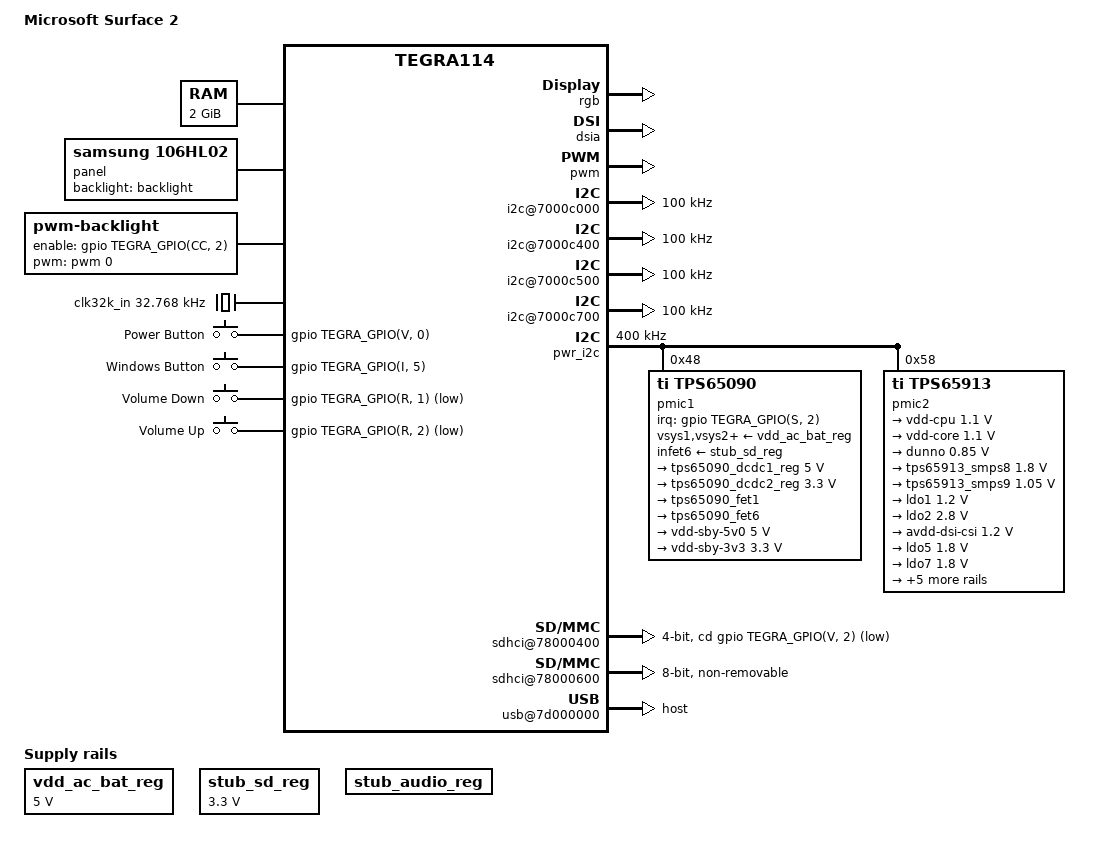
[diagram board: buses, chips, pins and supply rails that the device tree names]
/dts-v1/;

#include "tegra114.dtsi"

#include <dt-bindings/input/gpio-keys.h>
#include <dt-bindings/input/linux-event-codes.h>

/ {
	model = "Microsoft Surface 2";
	compatible = "microsoft,surface-2", "nvidia,tegra114";

	chosen {
		stdout-path = &uarta;
	};

	aliases {
		i2c0 = "/i2c@7000c000";
		i2c1 = "/i2c@7000c400";
		i2c2 = "/i2c@7000c500";
		i2c3 = "/i2c@7000c700";
		i2c4 = "/i2c@7000d000";
		mmc0 = "/sdhci@78000600";
		mmc1 = "/sdhci@78000400";
		usb0 = "/usb@7d000000";
	};

	memory {
		device_type = "memory";
		reg = <0x80000000 0x80000000>;
	};


//	reserved-memory {
//		#address-cells = <1>;
//		#size-cells = <1>;
//		ranges;

	//	/* global autoconfigured region for contiguous allocations */
	//	linux,cma {
	//		compatible = "shared-dma-pool";
	//		reusable;
	//		size = <0x4000000>;
	//		alignment = <0x2000>;
	//		linux,cma-default;
	//	};

	//	display_reserved: framebuffer@78000000 {
	//		reg = <0x78000000 0x800000>;
	//	};

//		parking_secondary: parking@82000000 {
//			compatible = "acpi,parking-memory";
//			reg = <0x82000000 0x4000000>;
//		};
//	};

	host1x@50000000 {
		dc@54200000 {
			clocks = <&tegra_car TEGRA114_CLK_DISP1>,
				 <&tegra_car TEGRA114_CLK_PLL_D_OUT0>;

			rgb {
				status = "okay";

				nvidia,panel = <&dsia>;
			};
		};

		dsia: dsi@54300000 {
			status = "okay";

			clocks = <&tegra_car TEGRA114_CLK_DSIA>;
			panel = <&panel>;
		};
	};

	panel: panel {
		compatible = "samsung,106hl02";
		//reset-gpios = <&gpio TEGRA_GPIO(K, 6) GPIO_ACTIVE_HIGH>;

		//power-supply = <&tps65090_fet4>;

		backlight = <&backlight>;
	};

	pwm: pwm@7000a000 {
		status = "okay";
	};

	backlight: backlight {
		compatible = "pwm-backlight";

		enable-gpios = <&gpio TEGRA_GPIO(CC, 2) GPIO_ACTIVE_HIGH>;
		pwms = <&pwm 0 1000000>;

		brightness-levels = <16 255>;
		default-brightness-level = <255>;
	};

	i2c@7000c000 {
		status = "okay";
		clock-frequency = <100000>;
	};

	i2c@7000c400 {
		status = "okay";
		clock-frequency = <100000>;
	};

	i2c@7000c500 {
		status = "okay";
		clock-frequency = <100000>;
	};

	i2c@7000c700 {
		status = "okay";
		clock-frequency = <100000>;
	};

	i2c@7000d000 {
		status = "okay";
		clock-frequency = <400000>;
	};

	pwr_i2c: i2c@7000d000 {
		status = "okay";
		clock-frequency = <400000>;


		pmic1: tps65090@48 {
			compatible = "ti,tps65090";
			reg = <0x48>;

			interrupt-parent = <&gpio>;
			interrupts = <TEGRA_GPIO(S, 2) IRQ_TYPE_LEVEL_HIGH>;

			vsys1-supply = <&vdd_ac_bat_reg>;
			vsys2-supply = <&vdd_ac_bat_reg>;
			vsys-l1-supply = <&vdd_ac_bat_reg>;
			vsys-l2-supply = <&vdd_ac_bat_reg>;
			
			infet6-supply = <&stub_sd_reg>;

			regulators {
				// DCDC Regulators should be always on.

				// UEFI has it disabled but external control is enabled
				// Fixed at 5V
				tps65090_dcdc1_reg: dcdc1 {
					regulator-name = "vdd-sys-5v0";
					regulator-min-microvolt = <5000000>;
					regulator-max-microvolt = <5000000>;
					ti,enable-ext-control;
				};

				// UEFI has it disabled but external control is enabled
				// Fixed at 3v3
				tps65090_dcdc2_reg: dcdc2 {
					regulator-name = "vdd-sys-3v3";
					regulator-min-microvolt = <3300000>;
					regulator-max-microvolt = <3300000>;
					ti,enable-ext-control;
				};

				// UEFI has it disabled but external control is enabled
				// variable voltage determined by external resistor				
				tps65090_dcdc3_reg: dcdc3 {
					ti,enable-ext-control;
				};

				// Connected to panel. Don't know how. Need few more tests
				// 1A / SystemVoltage
				tps65090_fet1: fet1 {
					regulator-name = "something-panel";
					regulator-always-on;
					regulator-boot-on;
				};

				// 200mA / 5V0
				// Enabled but not known
				// reverse-current protected for connections with external voltage: HDMI, USB
				tps65090_fet2: fet2 {
					regulator-always-on;
					regulator-boot-on;
				};

				// LDO3 modem on Dalmore. Maybe Surface 2 with modem?
				// 3A / 3v3

				// Connected to panel. Don't know how. Need few more tests
				// 1A / 3v3
				tps65090_fet4: fet4 {
					//regulator-name = "vdd-lcd";
					regulator-always-on;
					regulator-boot-on;
				};

				// No FET5 - crash boot - can't enable
				// UEFI says enable but PowerGood signal isn't present
				// Maybe missing input voltage?
				// 1A / 3v3

				// 1A / 3v3
				tps65090_fet6: fet6 {
					regulator-name = "vdd-sd-slot";
					regulator-always-on;
				};

				// FET7
				// 1A / 3v3

				// always on LDO; can be bypassed by DCDC1/2
				ldo1 {
					regulator-name = "vdd-sby-5v0";
					regulator-min-microvolt = <5000000>;
					regulator-max-microvolt = <5000000>;
					regulator-always-on;
					regulator-boot-on;
				};

				ldo2 {
					regulator-name = "vdd-sby-3v3";
					regulator-min-microvolt = <3300000>;
					regulator-max-microvolt = <3300000>;
					regulator-always-on;
					regulator-boot-on;
				};
			};
		};

		/* Texas Instruments TPS65913 PMIC */
		pmic2: tps65913@58 {
			compatible = "ti,tps65913";
			reg = <0x58>;

			interrupts = <GIC_SPI 86 IRQ_TYPE_LEVEL_HIGH>;
			#interrupt-cells = <2>;
			interrupt-controller;

			ti,system-power-controller;

			palmas_gpio: gpio {
				compatible = "ti,palmas-gpio";
				gpio-controller;
				#gpio-cells = <2>;
			};

			pmic {
				compatible = "ti,tps65913-pmic";



				regulators {
					smps123 {
						regulator-name = "vdd-cpu";
						regulator-min-microvolt = <1100000>;
						regulator-max-microvolt = <1100000>;
						regulator-always-on;
						regulator-boot-on;
						ti,roof-floor = <1>;
						ti,mode-sleep = <0>;
						regulator-ramp-delay = <2500>;
						ti,warm-reset;
					};

					smps457 {
						regulator-name = "vdd-core";
						regulator-min-microvolt = <1100000>;
						regulator-max-microvolt = <1100000>;
						regulator-always-on;
						regulator-boot-on;
						ti,roof-floor = <1>;
						ti,mode-sleep = <0>;
						regulator-ramp-delay = <5000>;
						ti,warm-reset;
					};

					smps6 {
						regulator-name = "dunno";
						regulator-min-microvolt = <850000>;
						regulator-max-microvolt = <850000>;
						ti,roof-floor = <1>;
						ti,mode-sleep = <0>;
						regulator-ramp-delay = <5000>;
						ti,warm-reset;
					};

					tps65913_smps8: smps8 {
						regulator-name = "vdd-1v8";
						regulator-min-microvolt = <1800000>;
						regulator-max-microvolt = <1800000>;
						regulator-always-on;
						regulator-boot-on;
						ti,roof-floor = <1>;
						ti,mode-sleep = <0>;
						regulator-ramp-delay = <5000>;
						ti,warm-reset;
					};

					tps65913_smps9: smps9 {
						regulator-name = "vdd-1v05";
						regulator-min-microvolt = <1050000>;
						regulator-max-microvolt = <1050000>;
						regulator-always-on;
						ti,warm-reset;
					};
					
					
					ldo1 {
						regulator-min-microvolt = <1200000>;
						regulator-max-microvolt = <1200000>;
						regulator-always-on;
						regulator-boot-on;
					};
					
					ldo2 {
						regulator-min-microvolt = <2800000>;
						regulator-max-microvolt = <2800000>;
						regulator-always-on;
						regulator-boot-on;
					};
					
					ldo3 {
						regulator-name = "avdd-dsi-csi";
						regulator-min-microvolt = <1200000>;
						regulator-max-microvolt = <1200000>;
						regulator-always-on;
						regulator-boot-on;
					};



/*
                                        ldo4 {
                                                regulator-min-microvolt = <1800000>;
                                                regulator-max-microvolt = <1800000>;
                                                regulator-always-on;
                                                regulator-boot-on;
                                        };
*/					

					ldo5 {
						regulator-min-microvolt = <1800000>;
						regulator-max-microvolt = <1800000>;
						regulator-always-on;
						regulator-boot-on;
					};
					
					
					ldo7 {
						regulator-min-microvolt = <1800000>;
						regulator-max-microvolt = <1800000>;
						regulator-always-on;
						regulator-boot-on;
					};
					
					ldo8 {
						regulator-name = "vdd-rtc";
						regulator-min-microvolt = <1200000>;
						regulator-max-microvolt = <1200000>;
						regulator-always-on;
						regulator-boot-on;
					};
					
					tps65913_ldo9: ldo9 {
						regulator-name = "vddio-sdmmc-2";
						regulator-min-microvolt = <3300000>;
						regulator-max-microvolt = <3300000>;
						regulator-always-on;
					};
					
					ldoln {
						regulator-min-microvolt = <1800000>;
						regulator-max-microvolt = <1800000>;
						regulator-always-on;
					};
					
					ldousb {
						regulator-name = "avdd-usb";
						regulator-min-microvolt = <3300000>;
						regulator-max-microvolt = <3300000>;
						regulator-always-on;
						regulator-boot-on;
					};

					regen2 {
						regulator-max-microvolt = <5000000>;
						regulator-always-on;
						regulator-boot-on;
					};
					
					sysen1 {
					
					};
				};


			};
		};
	};



	sdhci@78000400 {
		cd-gpios = <&gpio TEGRA_GPIO(V, 2) GPIO_ACTIVE_LOW>;
		bus-width = <4>;
		status = "okay";
	};

	sdhci@78000600 {
		status = "okay";
		bus-width = <8>;
		non-removable;
	};

	usb@7d000000 {
		status = "okay";
		dr_mode = "host";
		nvidia,vbus-gpio = <&gpio TEGRA_GPIO(K, 1) GPIO_ACTIVE_HIGH>;
	};


        phy1: usb-phy@7d000000 {

                status = "okay";
	};



	clocks {
		compatible = "simple-bus";
		#address-cells = <1>;
		#size-cells = <0>;

		clk32k_in: clock@0 {
			compatible = "fixed-clock";
			reg=<0>;
			#clock-cells = <0>;
			clock-frequency = <32768>;
		};
	};
	
	gpio-keys {
		compatible = "gpio-keys";

		power {
			label = "Power Button";
			gpios = <&gpio TEGRA_GPIO(V, 0) GPIO_ACTIVE_HIGH>;
			linux,code = <KEY_ENTER>;
		};

		windows-button {
			label = "Windows Button";
			gpios = <&gpio TEGRA_GPIO(I, 5) GPIO_ACTIVE_HIGH>;
			linux,code = <KEY_ENTER>;
		};

		volume-down {
			label = "Volume Down";
			gpios = <&gpio TEGRA_GPIO(R, 1) GPIO_ACTIVE_LOW>;
			linux,code = <KEY_DOWN>;
		};

		volume-up {
			label = "Volume Up";
			gpios = <&gpio TEGRA_GPIO(R, 2) GPIO_ACTIVE_LOW>;
			linux,code = <KEY_UP>;
		};
	};
	
	/* Regulators */
	vdd_ac_bat_reg: regulator-acbat {
		compatible = "regulator-fixed";
		regulator-name = "vdd_ac_bat";
		regulator-min-microvolt = <5000000>;
		regulator-max-microvolt = <5000000>;
		regulator-always-on;
	};
/*
	usb3_vbus_reg: regulator-usb3 {
		compatible = "regulator-fixed";
		regulator-name = "usb2_vbus";
		regulator-min-microvolt = <5000000>;
		regulator-max-microvolt = <5000000>;
		enable-active-high;
		gpio = <&gpio TEGRA_GPIO(K, 1) GPIO_ACTIVE_HIGH>;
		//regulator-enable-ramp-delay = <100000>; //offset of 0x4000 a 100ms
		//vin-supply = <&tps65090_dcdc1_reg>;
	};
*/
	stub_sd_reg: stub_sd {
		compatible = "regulator-fixed";
		regulator-name = "stub_sd";
		regulator-min-microvolt = <3300000>;
		regulator-max-microvolt = <3300000>;
	};

	stub_audio_reg: stub_audio {
		compatible = "regulator-fixed";
		regulator-name = "stub_audio";
	};

/*
	touchscreen_reg: touchscreen_vdd {
		compatible = "regulator-fixed";
		regulator-name = "touchscreen_vdd";
		enable-active-high;
		regulator-enable-ramp-delay = <70000>; // 70ms from ACPI
		gpio = <&gpio TEGRA_GPIO(K, 6) GPIO_ACTIVE_HIGH>;
		regulator-always-on;
	};
*/

/*
	what_ever_reg: what_ever {
		compatible = "regulator-fixed";
		regulator-name = "what";
		enable-active-high;
		regulator-enable-ramp-delay = <100000>; // 100ms from ACPI
		gpio = <&gpio TEGRA_GPIO(H, 2) GPIO_ACTIVE_HIGH>;
		regulator-always-on;
	};

	

	sensor_hub_reg: sensor_hub_vdd {
		compatible = "regulator-fixed";
		regulator-name = "sensor_hub_vdd";
		enable-active-high;
		regulator-enable-ramp-delay = <100000>; // 100ms from ACPI
		gpio = <&gpio TEGRA_GPIO(X, 6) GPIO_ACTIVE_HIGH>;
		regulator-always-on;
	};
*/

};

&uarta {
//	status = "okay";
};
